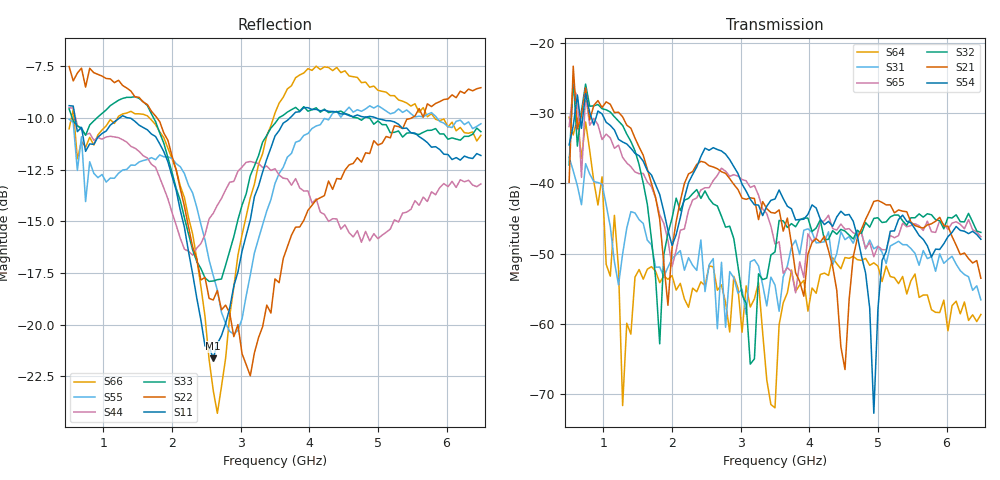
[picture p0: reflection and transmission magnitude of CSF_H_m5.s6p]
!Keysight Technologies,M9804A,MY58100912,A.14.10.03
!Date: Thursday, April 27, 2023 10:28:33
!Correction: S11(C  6-Port  )
!S12(C  6-Port  )
!S13(C  6-Port  )
!S14(C  6-Port  )
!S15(C  6-Port  )
!S16(C  6-Port  )
!S21(C  6-Port  )
!S22(C  6-Port  )
!S23(C  6-Port  )
!S24(C  6-Port  )
!S25(C  6-Port  )
!S26(C  6-Port  )
!S31(C  6-Port  )
!S32(C  6-Port  )
!S33(C  6-Port  )
!S34(C  6-Port  )
!S35(C  6-Port  )
!S36(C  6-Port  )
!S41(C  6-Port  )
!S42(C  6-Port  )
!S43(C  6-Port  )
!S44(C  6-Port  )
!S45(C  6-Port  )
!S46(C  6-Port  )
!S51(C  6-Port  )
!S52(C  6-Port  )
!S53(C  6-Port  )
!S54(C  6-Port  )
!S55(C  6-Port  )
!S56(C  6-Port  )
!S61(C  6-Port  )
!S62(C  6-Port  )
!S63(C  6-Port  )
!S64(C  6-Port  )
!S65(C  6-Port  )
!S66(C  6-Port  )
!S6P File: Measurement: :
# Hz S  RI  R 50
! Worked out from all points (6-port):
!   101 points, 500 MHz to 6.5 GHz, reference 50 ohm
!   strongest paths, dB at 500 MHz, 2 GHz, 3.5 GHz, 5 GHz, 6.5 GHz:
!     S54: -34.5, -48.8, -42.2, -57.8, -48.0
!     S21: -39.8, -49.2, -44.2, -42.4, -53.5
!     S32: -37.4, -45.0, -49.7, -44.9, -47.0
!     S65: -31.9, -51.8, -48.7, -49.0, -47.6
!     S31: -36.3, -50.7, -54.5, -48.9, -56.6
!     S64: -30.6, -53.1, -71.9, -51.8, -58.6
!   lowest |S11| = -21.6 dB at 2.6 GHz (marker M1), VSWR 1.18, Z = 42.6 + j2.04 ohm
!   |S11| at or under -10 dB: 588 MHz to 1.234 GHz (646.4 MHz wide, 70.9 % of centre); 1.375 GHz to 3.717 GHz (2.342 GHz wide, 92 % of centre); 4.973 GHz to end of sweep
